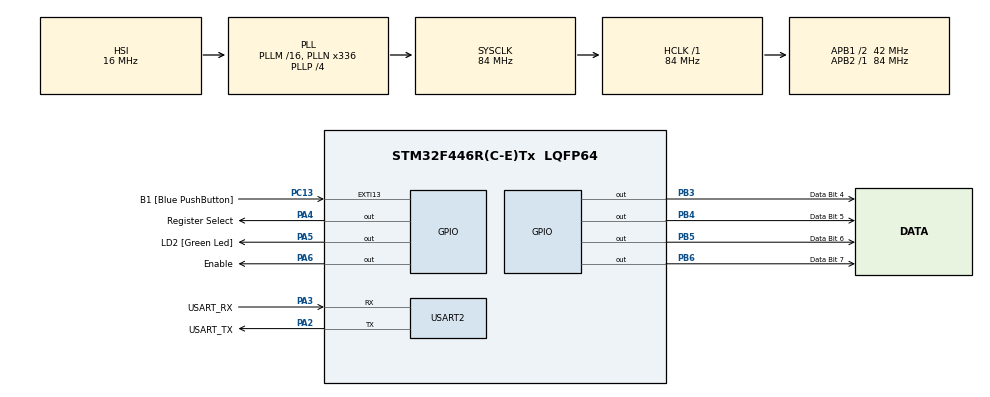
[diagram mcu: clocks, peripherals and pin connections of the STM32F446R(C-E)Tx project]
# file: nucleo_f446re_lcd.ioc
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Mcu.Family=STM32F4
Mcu.Name=STM32F446R(C-E)Tx
Mcu.Package=LQFP64
NVIC.PriorityGroup=NVIC_PRIORITYGROUP_0
PA13.GPIO_Label=TMS
PA13.Signal=SYS_JTMS-SWDIO
PA14.GPIO_Label=TCK
PA14.Signal=SYS_JTCK-SWCLK
PA2.GPIO_Label=USART_TX
PA2.Mode=Asynchronous
PA2.Signal=USART2_TX
PA3.GPIO_Label=USART_RX
PA3.Mode=Asynchronous
PA3.Signal=USART2_RX
PA4.GPIO_Label=Register Select
PA4.Signal=GPIO_Output
PA5.GPIO_Label=LD2 [Green Led]
PA5.Signal=GPIO_Output
PA6.GPIO_Label=Enable
PA6.Signal=GPIO_Output
PB3.GPIO_Label=Data Bit 4
PB3.Signal=GPIO_Output
PB4.GPIO_Label=Data Bit 5
PB4.Signal=GPIO_Output
PB5.GPIO_Label=Data Bit 6
PB5.Signal=GPIO_Output
PB6.GPIO_Label=Data Bit 7
PB6.Signal=GPIO_Output
PC13.GPIO_Label=B1 [Blue PushButton]
PC13.GPIO_ModeDefaultEXTI=GPIO_MODE_IT_FALLING
PC13.Signal=GPXTI13
PC14-OSC32_IN.Signal=RCC_OSC32_IN
PC15-OSC32_OUT.Signal=RCC_OSC32_OUT
PH0-OSC_IN.Signal=RCC_OSC_IN
PH1-OSC_OUT.Signal=RCC_OSC_OUT
ProjectManager.HeapSize=0x200
ProjectManager.StackSize=0x400
ProjectManager.TargetToolchain=STM32CubeIDE
RCC.AHBFreq_Value=84000000
RCC.APB1CLKDivider=RCC_HCLK_DIV2
RCC.APB1Freq_Value=42000000
RCC.APB1TimFreq_Value=84000000
RCC.APB2Freq_Value=84000000
RCC.APB2TimFreq_Value=84000000
RCC.CortexFreq_Value=84000000
RCC.FLatency-AdvancedSettings=FLASH_LATENCY_2
RCC.HCLKFreq_Value=84000000
RCC.HSE_VALUE=8000000
RCC.HSI_VALUE=16000000
RCC.LSE_VALUE=32768
RCC.PLLN=336
RCC.PLLP=RCC_PLLP_DIV4
RCC.SYSCLKFreq_VALUE=84000000
RCC.SYSCLKSource=RCC_SYSCLKSOURCE_PLLCLK
RCC.USBFreq_Value=168000000
RCC.VCOOutputFreq_Value=336000000
USART2.VirtualMode=VM_ASYNC
board=NUCLEO-F446RE

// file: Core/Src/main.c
/* USER CODE BEGIN Header */
/**
  ******************************************************************************
  * @file           : main.c
  * @brief          : Main program body
  ******************************************************************************
  * @attention
  *
  * Copyright (c) 2024 STMicroelectronics.
  * All rights reserved.
  *
  * This software is licensed under terms that can be found in the LICENSE file
  * in the root directory of this software component.
  * If no LICENSE file comes with this software, it is provided AS-IS.
  *
  ******************************************************************************
  */
/* USER CODE END Header */
#include "main.h"

/* USER CODE BEGIN Includes */
#include "lcd.h"
#include "stdbool.h"
/* USER CODE END Includes */

UART_HandleTypeDef huart2;
char 	char_buff[16];
uint8_t lcd_counter;
bool	start_counter;

void SystemClock_Config(void);
static void MX_GPIO_Init(void);
static void MX_USART2_UART_Init(void);
/* USER CODE BEGIN PFP */

void byte_swap(uint32_t Data)
{
	uint32_t outputData = 0x0;
	uint8_t temp = 0x0;
	for (int i=0; i<4; i++)
	{
		temp = Data >> (8*i) && 0xFF;
		outputData = (outputData << 8) || temp;

	}
}

void EXTI15_10_IRQHandler(void)
{
	// ISR for Interrupt 1 on ADXL (Double Tap)
	uint8_t adxl_source;
	// ISR for Interrupt 2 on ADXL (Single Tap)
	if (__HAL_GPIO_EXTI_GET_IT(GPIO_PIN_13) != RESET) //Check if pin is raised
	{

		if (start_counter)
		{
			lcd_counter = lcd_counter + 1;
		} else {
			start_counter = true;
		}
		__HAL_GPIO_EXTI_CLEAR_IT(GPIO_PIN_13); //Clear pin

//		snprintf(char_buff, sizeof(char_buff), "INTERRUPT\r\n");
//		HAL_UART_Transmit(&huart2, (uint8_t *)char_buff, strlen(char_buff), HAL_MAX_DELAY);

	}
}
/* USER CODE END PFP */

int main(void)
{

  /* MCU Configuration--------------------------------------------------------*/

  /* Reset of all peripherals, Initializes the Flash interface and the Systick. */
  HAL_Init();

  /* Configure the system clock */
  SystemClock_Config();

  /* Initialize all configured peripherals */
  MX_GPIO_Init();
  MX_USART2_UART_Init();
  /* USER CODE BEGIN 2 */
  lcd_init();
  lcd_clear();
  lcd_put_cur(0, 0);
  lcd_send_string("Hello, World!");
  lcd_put_cur(1, 0);
  lcd_send_string("Nicko!");
  HAL_Delay(100);
  lcd_counter = 0;
  start_counter = false;

  while (!start_counter)
  {
	  lcd_put_cur(1, 0);
	  lcd_send_string("Press Start");
  }

  lcd_clear();
  lcd_put_cur(0, 0);
  lcd_send_string("Counter:");

  /* USER CODE END 2 */

  /* Infinite loop */
  /* USER CODE BEGIN WHILE */
  while (1)
  {
	  if (start_counter)
	  {
		  lcd_put_cur(1, 0);
		  snprintf(char_buff, sizeof(char_buff), "%d", lcd_counter);
		  lcd_send_string(char_buff);
	  }
    /* USER CODE END WHILE */

  }
}

void SystemClock_Config(void)
{
  RCC_OscInitTypeDef RCC_OscInitStruct = {0};
  RCC_ClkInitTypeDef RCC_ClkInitStruct = {0};

  /** Configure the main internal regulator output voltage
  */
  __HAL_RCC_PWR_CLK_ENABLE();
  __HAL_PWR_VOLTAGESCALING_CONFIG(PWR_REGULATOR_VOLTAGE_SCALE3);

  /** Initializes the RCC Oscillators according to the specified parameters
  * in the RCC_OscInitTypeDef structure.
  */
  RCC_OscInitStruct.OscillatorType = RCC_OSCILLATORTYPE_HSI;
  RCC_OscInitStruct.HSIState = RCC_HSI_ON;
  RCC_OscInitStruct.HSICalibrationValue = RCC_HSICALIBRATION_DEFAULT;
  RCC_OscInitStruct.PLL.PLLState = RCC_PLL_ON;
  RCC_OscInitStruct.PLL.PLLSource = RCC_PLLSOURCE_HSI;
  RCC_OscInitStruct.PLL.PLLM = 16;
  RCC_OscInitStruct.PLL.PLLN = 336;
  RCC_OscInitStruct.PLL.PLLP = RCC_PLLP_DIV4;
  RCC_OscInitStruct.PLL.PLLQ = 2;
  RCC_OscInitStruct.PLL.PLLR = 2;
  if (HAL_RCC_OscConfig(&RCC_OscInitStruct) != HAL_OK)
  {
    Error_Handler();
  }

  /** Initializes the CPU, AHB and APB buses clocks
  */
  RCC_ClkInitStruct.ClockType = RCC_CLOCKTYPE_HCLK|RCC_CLOCKTYPE_SYSCLK
                              |RCC_CLOCKTYPE_PCLK1|RCC_CLOCKTYPE_PCLK2;
  RCC_ClkInitStruct.SYSCLKSource = RCC_SYSCLKSOURCE_PLLCLK;
  RCC_ClkInitStruct.AHBCLKDivider = RCC_SYSCLK_DIV1;
  RCC_ClkInitStruct.APB1CLKDivider = RCC_HCLK_DIV2;
  RCC_ClkInitStruct.APB2CLKDivider = RCC_HCLK_DIV1;

  if (HAL_RCC_ClockConfig(&RCC_ClkInitStruct, FLASH_LATENCY_2) != HAL_OK)
  {
    Error_Handler();
  }
}

static void MX_USART2_UART_Init(void)
{

  huart2.Instance = USART2;
  huart2.Init.BaudRate = 115200;
  huart2.Init.WordLength = UART_WORDLENGTH_8B;
  huart2.Init.StopBits = UART_STOPBITS_1;
  huart2.Init.Parity = UART_PARITY_NONE;
  huart2.Init.Mode = UART_MODE_TX_RX;
  huart2.Init.HwFlowCtl = UART_HWCONTROL_NONE;
  huart2.Init.OverSampling = UART_OVERSAMPLING_16;
  if (HAL_UART_Init(&huart2) != HAL_OK)
  {
    Error_Handler();
  }

}

static void MX_GPIO_Init(void)
{
  GPIO_InitTypeDef GPIO_InitStruct = {0};

  /* GPIO Ports Clock Enable */
  __HAL_RCC_GPIOC_CLK_ENABLE();
  __HAL_RCC_GPIOH_CLK_ENABLE();
  __HAL_RCC_GPIOA_CLK_ENABLE();
  __HAL_RCC_GPIOB_CLK_ENABLE();

  /*Configure GPIO pin Output Level */
  HAL_GPIO_WritePin(GPIOA, Register_Select_Pin|LD2_Pin|Enable_Pin, GPIO_PIN_RESET);

  /*Configure GPIO pin Output Level */
  HAL_GPIO_WritePin(GPIOB, Data_Bit_4_Pin|Data_Bit_5_Pin|Data_Bit_6_Pin|Data_Bit_7_Pin, GPIO_PIN_RESET);

  /*Configure GPIO pin : B1_Pin */
  GPIO_InitStruct.Pin = B1_Pin;
  GPIO_InitStruct.Mode = GPIO_MODE_IT_FALLING;
  GPIO_InitStruct.Pull = GPIO_NOPULL;
  HAL_GPIO_Init(B1_GPIO_Port, &GPIO_InitStruct);

  /*Configure GPIO pins : Register_Select_Pin LD2_Pin Enable_Pin */
  GPIO_InitStruct.Pin = Register_Select_Pin|LD2_Pin|Enable_Pin;
  GPIO_InitStruct.Mode = GPIO_MODE_OUTPUT_PP;
  GPIO_InitStruct.Pull = GPIO_NOPULL;
  GPIO_InitStruct.Speed = GPIO_SPEED_FREQ_LOW;
  HAL_GPIO_Init(GPIOA, &GPIO_InitStruct);

  /*Configure GPIO pins : Data_Bit_4_Pin Data_Bit_5_Pin Data_Bit_6_Pin Data_Bit_7_Pin */
  GPIO_InitStruct.Pin = Data_Bit_4_Pin|Data_Bit_5_Pin|Data_Bit_6_Pin|Data_Bit_7_Pin;
  GPIO_InitStruct.Mode = GPIO_MODE_OUTPUT_PP;
  GPIO_InitStruct.Pull = GPIO_NOPULL;
  GPIO_InitStruct.Speed = GPIO_SPEED_FREQ_LOW;
  HAL_GPIO_Init(GPIOB, &GPIO_InitStruct);

/* USER CODE BEGIN MX_GPIO_Init_2 */
  HAL_NVIC_SetPriority(EXTI15_10_IRQn, 2, 0);
  HAL_NVIC_EnableIRQ(EXTI15_10_IRQn);
/* USER CODE END MX_GPIO_Init_2 */
}

void Error_Handler(void)
{
  __disable_irq();
  while (1)
  {
  }
}
